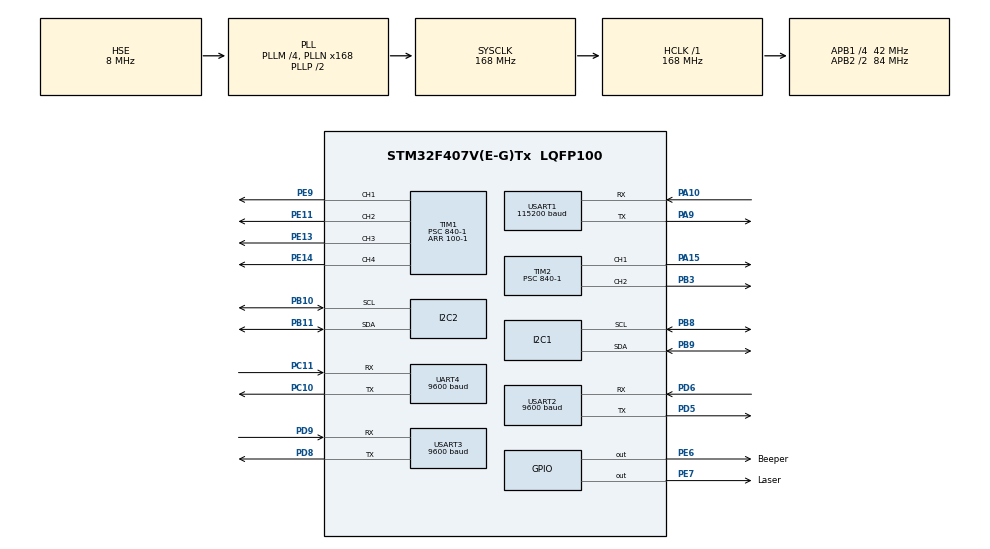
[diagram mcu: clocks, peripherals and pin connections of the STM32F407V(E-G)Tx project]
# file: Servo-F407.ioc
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Mcu.Family=STM32F4
Mcu.Name=STM32F407V(E-G)Tx
Mcu.Package=LQFP100
NVIC.PriorityGroup=NVIC_PRIORITYGROUP_2
NVIC.TIM5_IRQn=true\:0\:0\:false\:false\:true\:true\:true
NVIC.UART4_IRQn=true\:0\:0\:true\:false\:true\:true\:true
NVIC.USART1_IRQn=true\:0\:0\:true\:false\:true\:true\:true
NVIC.USART2_IRQn=true\:0\:0\:true\:false\:true\:true\:true
NVIC.USART3_IRQn=true\:0\:0\:true\:false\:true\:true\:true
PA10.Mode=Asynchronous
PA10.Signal=USART1_RX
PA15.Signal=S_TIM2_CH1_ETR
PA9.Mode=Asynchronous
PA9.Signal=USART1_TX
PB10.Mode=I2C
PB10.Signal=I2C2_SCL
PB11.Mode=I2C
PB11.Signal=I2C2_SDA
PB3.Signal=S_TIM2_CH2
PB8.Mode=I2C
PB8.Signal=I2C1_SCL
PB9.Mode=I2C
PB9.Signal=I2C1_SDA
PC10.Mode=Asynchronous
PC10.Signal=UART4_TX
PC11.Mode=Asynchronous
PC11.Signal=UART4_RX
PD5.Mode=Asynchronous
PD5.Signal=USART2_TX
PD6.Mode=Asynchronous
PD6.Signal=USART2_RX
PD8.Mode=Asynchronous
PD8.Signal=USART3_TX
PD9.Mode=Asynchronous
PD9.Signal=USART3_RX
PE11.Signal=S_TIM1_CH2
PE13.Signal=S_TIM1_CH3
PE14.Signal=S_TIM1_CH4
PE6.GPIO_Label=Beeper
PE6.Signal=GPIO_Output
PE7.GPIO_Label=Laser
PE7.Signal=GPIO_Output
PE9.Signal=S_TIM1_CH1
PH0-OSC_IN.Mode=HSE-External-Oscillator
PH0-OSC_IN.Signal=RCC_OSC_IN
PH1-OSC_OUT.Mode=HSE-External-Oscillator
PH1-OSC_OUT.Signal=RCC_OSC_OUT
ProjectManager.HeapSize=0x600
ProjectManager.StackSize=0x2000
ProjectManager.TargetToolchain=MDK-ARM V5.27
RCC.48MHZClocksFreq_Value=48000000
RCC.AHBFreq_Value=168000000
RCC.APB1CLKDivider=RCC_HCLK_DIV4
RCC.APB1Freq_Value=42000000
RCC.APB1TimFreq_Value=84000000
RCC.APB2CLKDivider=RCC_HCLK_DIV2
RCC.APB2Freq_Value=84000000
RCC.APB2TimFreq_Value=168000000
RCC.CortexFreq_Value=168000000
RCC.HCLKFreq_Value=168000000
RCC.HSE_VALUE=8000000
RCC.HSI_VALUE=16000000
RCC.LSE_VALUE=32768
RCC.PLLM=4
RCC.PLLN=168
RCC.PLLQ=7
RCC.PLLSourceVirtual=RCC_PLLSOURCE_HSE
RCC.SYSCLKFreq_VALUE=168000000
RCC.SYSCLKSource=RCC_SYSCLKSOURCE_PLLCLK
RCC.VCOOutputFreq_Value=336000000
SH.S_TIM1_CH1.0=TIM1_CH1,PWM Generation1 CH1
SH.S_TIM1_CH2.0=TIM1_CH2,PWM Generation2 CH2
SH.S_TIM1_CH3.0=TIM1_CH3,PWM Generation3 CH3
SH.S_TIM1_CH4.0=TIM1_CH4,PWM Generation4 CH4
SH.S_TIM2_CH1_ETR.0=TIM2_CH1,PWM Generation1 CH1
SH.S_TIM2_CH2.0=TIM2_CH2,PWM Generation2 CH2
TIM1.AutoReloadPreload=TIM_AUTORELOAD_PRELOAD_ENABLE
TIM1.Channel-PWM\ Generation1\ CH1=TIM_CHANNEL_1
TIM1.Channel-PWM\ Generation2\ CH2=TIM_CHANNEL_2
TIM1.Channel-PWM\ Generation3\ CH3=TIM_CHANNEL_3
TIM1.Channel-PWM\ Generation4\ CH4=TIM_CHANNEL_4
TIM1.Period=100-1
TIM1.Prescaler=840-1
TIM2.AutoReloadPreload=TIM_AUTORELOAD_PRELOAD_ENABLE
TIM2.Channel-PWM\ Generation1\ CH1=TIM_CHANNEL_1
TIM2.Channel-PWM\ Generation2\ CH2=TIM_CHANNEL_2
TIM2.Period=2000-1
TIM2.Prescaler=840-1
TIM5.AutoReloadPreload=TIM_AUTORELOAD_PRELOAD_ENABLE
TIM5.Period=1000
TIM5.Prescaler=8400-1
UART4.BaudRate=9600
UART4.VirtualMode=Asynchronous
USART1.BaudRate=115200
USART1.VirtualMode=VM_ASYNC
USART2.BaudRate=9600
USART2.VirtualMode=VM_ASYNC
USART3.BaudRate=9600
USART3.VirtualMode=VM_ASYNC
VP_TIM1_VS_ClockSourceINT.Mode=Internal
VP_TIM2_VS_ClockSourceINT.Mode=Internal
VP_TIM5_VS_ClockSourceINT.Mode=Internal
board=custom

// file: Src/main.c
/* USER CODE BEGIN Header */
/**
  ******************************************************************************
  * @file           : main.c
  * @brief          : Main program body
  ******************************************************************************
  * @attention
  *
  * <h2><center>&copy; Copyright (c) 2020 STMicroelectronics.
  * All rights reserved.</center></h2>
  *
  * This software component is licensed by ST under BSD 3-Clause license,
  * the "License"; You may not use this file except in compliance with the
  * License. You may obtain a copy of the License at:
  *                        opensource.org/licenses/BSD-3-Clause
  *
  ******************************************************************************
  */
/* USER CODE END Header */
#include "main.h"
#include "i2c.h"
#include "tim.h"
#include "usart.h"
#include "gpio.h"

/* USER CODE BEGIN Includes */
#include "mlx90614.h"
#include "stdio.h"
#include "motor.h"
#include "uart_handler.h"
#include "control.h"
#include "linefinder.h"
#include "BPSim.h"

/* USER CODE END Includes */

/* USER CODE BEGIN PD */
int ID;
uint8_t len;
int mode;
int times=0,recive_flag,mask,face,learn;
float Temperature,Temperature_Skin;
uint8_t Temperature_limit ;
char mask_flag[5],face_flag[5];
float skin_temp;
uint8_t	UART1RxBuffer[1],UART2RxBuffer[1],UART3RxBuffer[1],UART4RxBuffer[1];
char Uart_get[20];
uint16_t Distance;
float BP_in[2],BP_out[1];
unsigned char ucRxData[100];
unsigned char ucRxFinish=0;
static unsigned char ucCnt=0;
char screen_get[10];
unsigned char ucRxcnt = 0;
uint8_t value = 0;
char get_val[8],get_id[8],get_mode[8];
/* USER CODE END PD */

void SystemClock_Config(void);

int main(void)
{

  /* MCU Configuration--------------------------------------------------------*/

  /* Reset of all peripherals, Initializes the Flash interface and the Systick. */
  HAL_Init();

  /* Configure the system clock */
  SystemClock_Config();

  /* Initialize all configured peripherals */
  MX_GPIO_Init();
  MX_TIM1_Init();
  MX_USART1_UART_Init();
  MX_I2C1_Init();
  MX_TIM2_Init();
  MX_I2C2_Init();
  MX_TIM5_Init();
  MX_USART2_UART_Init();
  MX_USART3_UART_Init();
  MX_UART4_Init();
  /* USER CODE BEGIN 2 */
	HAL_UART_Receive_IT(&huart1,UART1RxBuffer,1);
	HAL_UART_Receive_IT(&huart2,UART2RxBuffer,1);
	HAL_UART_Receive_IT(&huart3,UART3RxBuffer,1);
	HAL_UART_Receive_IT(&huart4,UART4RxBuffer,1);
	HAL_TIM_Base_Start_IT(&htim5);	//开启定时器5，定时0.1s，均值滤波
	simInit();
	MLX90614_Init(&hi2c1);
  MLX90614_SetEmissivity(0.985); // Human skin
  /* USER CODE END 2 */

  /* Infinite loop */
  /* USER CODE BEGIN WHILE */
  while (1)
  {
//		uartx_printf(huart1,"%d",mode);
//		Beep();
		if(mode == 1)
		{
			Control_Loop_A();
		}
		else if(mode == 2)
		{
			Control_Loop_B();
		}
		else if(mode == 3)
		{
			Control_Loop_C();
			HAL_Delay(50);
		}
		else if(mode == 4)
		{
			Control_Loop_D();
			HAL_Delay(50);
		}
    /* USER CODE END WHILE */

  }
}

void SystemClock_Config(void)
{
  RCC_OscInitTypeDef RCC_OscInitStruct = {0};
  RCC_ClkInitTypeDef RCC_ClkInitStruct = {0};

  /** Configure the main internal regulator output voltage
  */
  __HAL_RCC_PWR_CLK_ENABLE();
  __HAL_PWR_VOLTAGESCALING_CONFIG(PWR_REGULATOR_VOLTAGE_SCALE1);
  /** Initializes the RCC Oscillators according to the specified parameters
  * in the RCC_OscInitTypeDef structure.
  */
  RCC_OscInitStruct.OscillatorType = RCC_OSCILLATORTYPE_HSE;
  RCC_OscInitStruct.HSEState = RCC_HSE_ON;
  RCC_OscInitStruct.PLL.PLLState = RCC_PLL_ON;
  RCC_OscInitStruct.PLL.PLLSource = RCC_PLLSOURCE_HSE;
  RCC_OscInitStruct.PLL.PLLM = 4;
  RCC_OscInitStruct.PLL.PLLN = 168;
  RCC_OscInitStruct.PLL.PLLP = RCC_PLLP_DIV2;
  RCC_OscInitStruct.PLL.PLLQ = 7;
  if (HAL_RCC_OscConfig(&RCC_OscInitStruct) != HAL_OK)
  {
    Error_Handler();
  }
  /** Initializes the CPU, AHB and APB buses clocks
  */
  RCC_ClkInitStruct.ClockType = RCC_CLOCKTYPE_HCLK|RCC_CLOCKTYPE_SYSCLK
                              |RCC_CLOCKTYPE_PCLK1|RCC_CLOCKTYPE_PCLK2;
  RCC_ClkInitStruct.SYSCLKSource = RCC_SYSCLKSOURCE_PLLCLK;
  RCC_ClkInitStruct.AHBCLKDivider = RCC_SYSCLK_DIV1;
  RCC_ClkInitStruct.APB1CLKDivider = RCC_HCLK_DIV4;
  RCC_ClkInitStruct.APB2CLKDivider = RCC_HCLK_DIV2;

  if (HAL_RCC_ClockConfig(&RCC_ClkInitStruct, FLASH_LATENCY_5) != HAL_OK)
  {
    Error_Handler();
  }
}

/* USER CODE BEGIN 4 */
void HAL_UART_RxCpltCallback(UART_HandleTypeDef *huart)
{
	unsigned char temp=0;
	extern unsigned char UART1RxBuffer[1];

	__HAL_UART_CLEAR_PEFLAG(huart);

	if(huart->Instance == USART1)			//串口1接收中断处理
	{
		Camera_Get(UART1RxBuffer);
	}
	if(huart->Instance == USART2)			//串口2接收中断处理
	{
		temp = UART2RxBuffer[0];
		ucRxData[ucCnt++]=temp;
		if(temp=='m')
			{
				ucRxFinish=1;
			  ucCnt=0;
			}
	}
	if(huart->Instance == USART3)			//串口3接收中断处理
	{
		Screen_get(UART3RxBuffer);
	}
	if(huart->Instance == UART4)			//串口4接收中断处理
	{
		Camera_Get(UART4RxBuffer);
	}
	HAL_UART_Receive_IT(&huart1,UART1RxBuffer,1);
	HAL_UART_Receive_IT(&huart2,UART2RxBuffer,1);
	HAL_UART_Receive_IT(&huart3,UART3RxBuffer,1);
	HAL_UART_Receive_IT(&huart4,UART4RxBuffer,1);
}

void HAL_GPIO_EXTI_Callback(uint16_t GPIO_Pin)//外部中断，每检测到一次输入信号的上升沿，计数值frequency自增
{

}

void HAL_TIM_PeriodElapsedCallback(TIM_HandleTypeDef *htim) //均值滤波算法，算脉冲更精准
{
	if(htim-> Instance == htim5.Instance)
	{

	}
}
/* USER CODE END 4 */

void Error_Handler(void)
{
}

/************************ (C) COPYRIGHT STMicroelectronics *****END OF FILE****/
